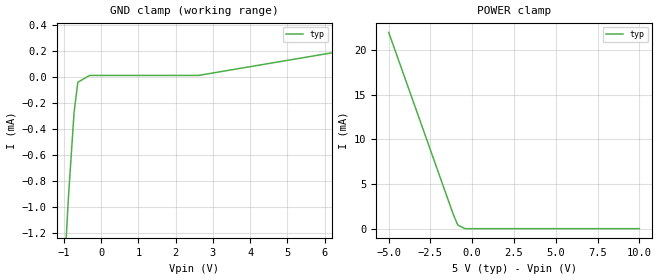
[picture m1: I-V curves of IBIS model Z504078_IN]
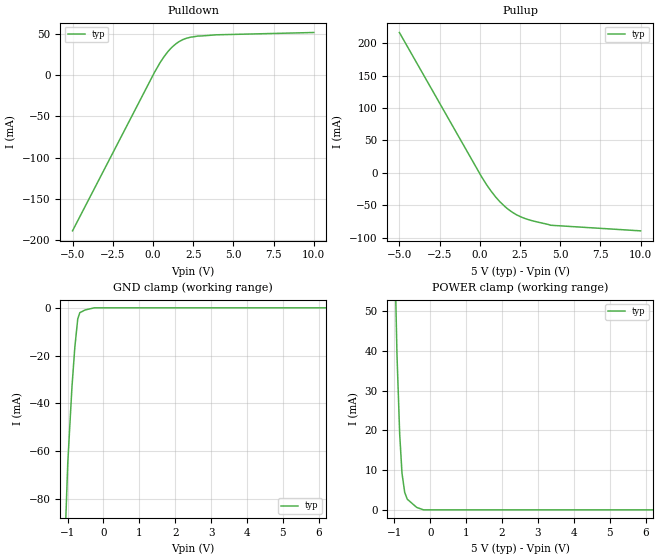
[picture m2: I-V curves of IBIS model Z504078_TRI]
| YOU ARE ONLY AUTHORIZED TO USE THIS SOFTWARE
| ACCORDING TO LICENSOR'S LICENSE RESTRICTIONS.
[IBIS Ver] 3.1
[File Name] mc54hc241j.ibs
[File Rev] 2.0
[Source] Measured and created by ICX Technology
[Date] Friday 7/14/00 9:08:06 AM
[Copyright]
| (C) COPYRIGHT 1993-2000
| MENTOR GRAPHICS CORPORATION
| ICX STANDARD LIBRARY, ICX PROJECT MODELING,
| ICX CUSTOM MODELING, ICX VENDOR MODEL
| ALL RIGHTS RESERVED.
| THE FOLLOWING ARE TRADEMARKS OR SERVICE MARKS OF
| MENTOR GRAPHICS CORPORATION:ICX (R), ICX STANDARD
| LIBRARY(R), ICX PROJECT MODELING(R), ICX CUSTOM
| MODELING(R), qualityIBIS(TM), MODELVIEWER(TM),
| AND MODELEDITOR(TM)
| ALL COPIES OF SOFTWARE, INCLUDING BUT NOT LIMITED TO
| ANY MODIFICATIONS, ENHANCEMENTS OR DERIVATIVE WORKS,
| MUST CONTAIN ALL MENTOR GRAPHICS CORPORATION'S
| NOTICES AND LEGENDS, INCLUDING THOSE EMBEDDED IN
| SOFTWARE AND THOSE AFFIXED TO SOFTWARE MEDIUM
| AND CONTAINER, AS RECEIVED FROM MENTOR GRAPHICS
| CORPORATION.
|  ZAP Model Builder 2.7
[Component] MC54HC241J
[Manufacturer] OnSemiconductor
[Package]
| variable   typ   min   max
R_pkg  .216ohms NA NA
L_pkg  5.76nH NA NA
C_pkg  2.193pF NA NA
[Pin] signal_name  model_name  R_pin  L_pin C_pin
1 _G1 Z504078_IN .232 9.76n 3.179p
2 A0 Z504078_IN .224 7.26n 2.686p
3 Y7 Z504078_TRI .216 5.26n 2.193p
4 A1 Z504078_IN .208 3.76n 1.7p
5 Y6 Z504078_TRI .2 2.76n 1.207p
6 A2 Z504078_IN .2 2.76n 1.207p
7 Y5 Z504078_TRI .208 3.76n 1.7p
8 A3 Z504078_IN .216 5.26n 2.193p
9 Y4 Z504078_TRI .224 7.26n 2.686p
10 GND GND .232 9.76n 3.179p
11 A4 Z504078_IN .232 9.76n 3.179p
12 Y3 Z504078_TRI .224 7.26n 2.686p
13 A5 Z504078_IN .216 5.26n 2.193p
14 Y2 Z504078_TRI .208 3.76n 1.7p
15 A6 Z504078_IN .2 2.76n 1.207p
16 Y1 Z504078_TRI .2 2.76n 1.207p
17 A7 Z504078_IN .208 3.76n 1.7p
18 Y0 Z504078_TRI .216 5.26n 2.193p
19 G2 Z504078_IN .224 7.26n 2.686p
20 VCC POWER .232 9.76n 3.179p
| Models and submodels in the file (2): Z504078_IN (Input), Z504078_TRI (3-state)
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| (C) COPYRIGHT 1993-2000
| MENTOR GRAPHICS CORPORATION
| ICX STANDARD LIBRARY, ICX PROJECT MODELING,
| ICX CUSTOM MODELING, ICX VENDOR MODEL
| ALL RIGHTS RESERVED.
| THE FOLLOWING ARE TRADEMARKS OR SERVICE MARKS OF
| MENTOR GRAPHICS CORPORATION:ICX (R), ICX STANDARD
| LIBRARY(R), ICX PROJECT MODELING(R), ICX CUSTOM
| MODELING(R), qualityIBIS(TM), MODELVIEWER(TM),
| AND MODELEDITOR(TM)
| ALL COPIES OF SOFTWARE, INCLUDING BUT NOT LIMITED TO
| ANY MODIFICATIONS, ENHANCEMENTS OR DERIVATIVE WORKS,
| MUST CONTAIN ALL MENTOR GRAPHICS CORPORATION'S
| NOTICES AND LEGENDS, INCLUDING THOSE EMBEDDED IN
| SOFTWARE AND THOSE AFFIXED TO SOFTWARE MEDIUM
| AND CONTAINER, AS RECEIVED FROM MENTOR GRAPHICS
| CORPORATION.
| Model Application Version 1.89 2/18/99.
[Model] Z504078_IN
Model_type Input
Vinl = 1.000V
Vinh = 3.500V
C_comp 4.000pF NA NA
| variable typ   min   max
[Voltage Range] 5.000V NA NA
[GND Clamp Reference] 0.000V NA NA
[POWER Clamp Reference] 5.000V NA NA
[GND Clamp]
-5V       -22.54mA   NA         NA
-878.9mV  -918.1uA   NA         NA
-728.1mV  -266.9uA   NA         NA
-627.7mV  -38.46uA   NA         NA
-313.8mV  14.23uA    NA         NA
2.611V    14.23uA    NA         NA
10V       373.4uA    NA         NA
[POWER Clamp]
-5V       22.01mA    NA         NA
-1.133V   1.59mA     NA         NA
-866mV    402.8uA    NA         NA
-433mV    0A         NA         NA
10V       0A         NA         NA
| (C) COPYRIGHT 1993-2000
| MENTOR GRAPHICS CORPORATION
| ICX STANDARD LIBRARY, ICX PROJECT MODELING,
| ICX CUSTOM MODELING, ICX VENDOR MODEL
| ALL RIGHTS RESERVED.
| THE FOLLOWING ARE TRADEMARKS OR SERVICE MARKS OF
| MENTOR GRAPHICS CORPORATION:ICX (R), ICX STANDARD
| LIBRARY(R), ICX PROJECT MODELING(R), ICX CUSTOM
| MODELING(R), qualityIBIS(TM), MODELVIEWER(TM),
| AND MODELEDITOR(TM)
| ALL COPIES OF SOFTWARE, INCLUDING BUT NOT LIMITED TO
| ANY MODIFICATIONS, ENHANCEMENTS OR DERIVATIVE WORKS,
| MUST CONTAIN ALL MENTOR GRAPHICS CORPORATION'S
| NOTICES AND LEGENDS, INCLUDING THOSE EMBEDDED IN
| SOFTWARE AND THOSE AFFIXED TO SOFTWARE MEDIUM
| AND CONTAINER, AS RECEIVED FROM MENTOR GRAPHICS
| CORPORATION.
| Model Application Version 1.89 2/18/99.
[Model] Z504078_TRI
Model_type 3-state
Vref=0.000V
Rref=500.0Mohms
Cref=50.00pF
Vmeas=2.500V
C_comp 8.000pF NA NA
| variable typ   min   max
[Voltage Range] 5.000V NA NA
[POWER Clamp Reference] 5.000V NA NA
[Pullup Reference] 5.000V NA NA
[Pulldown Reference] 0.000V NA NA
[GND Clamp Reference] 0.000V NA NA
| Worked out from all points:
|   slope of the pulldown table from 0 to 0.75 V, typ, clamps not added: 30.8 ohm
|   slope of the pullup table from 0 to 0.75 V, typ, clamps not added: 26.4 ohm
|   GND clamp passes 1 mA (typ) near -0.52 V on its own axis
[GND Clamp]
-5V       -2.48A     NA         NA
-1.172V   -140.1mA   NA         NA
-996.1mV  -65.05mA   NA         NA
-878.9mV  -33.12mA   NA         NA
-798.7mV  -16.51mA   NA         NA
-717.6mV  -4.625mA   NA         NA
-658.9mV  -2.019mA   NA         NA
-510mV    -890.9uA   NA         NA
-255mV    0A         NA         NA
10V       0A         NA         NA
[Pulldown]
-5V       -189.4mA   NA         NA
102.5mV   3.979mA    NA         NA
681.4mV   22.66mA    NA         NA
1.108V    32.93mA    NA         NA
1.444V    38.8mA     NA         NA
1.836V    43.52mA    NA         NA
2.133V    45.69mA    NA         NA
2.788V    48.04mA    NA         NA
3.926V    49.55mA    NA         NA
10V       52.38mA    NA         NA
[Pullup]
-5V       216.2mA    NA         NA
98mV      -5.342mA   NA         NA
440mV     -18.75mA   NA         NA
981mV     -36.82mA   NA         NA
1.583V    -52.19mA   NA         NA
2.051V    -60.94mA   NA         NA
2.7V      -69.08mA   NA         NA
4.39V     -80.42mA   NA         NA
10V       -89.09mA   NA         NA
[POWER Clamp]
-5V       2.26A      NA         NA
-1.064V   94.64mA    NA         NA
-931mV    39.11mA    NA         NA
-855mV    19mA       NA         NA
-791mV    9.233mA    NA         NA
-715mV    4.376mA    NA         NA
-644mV    2.682mA    NA         NA
-381mV    612.7uA    NA         NA
-190.5mV  0A         NA         NA
10V       0A         NA         NA
[Ramp]
| variable typ min max
dV/dt_r 2.878/1.343n NA NA
dV/dt_f 2.878/1.462n NA NA
R_load = 500.0Ohms
